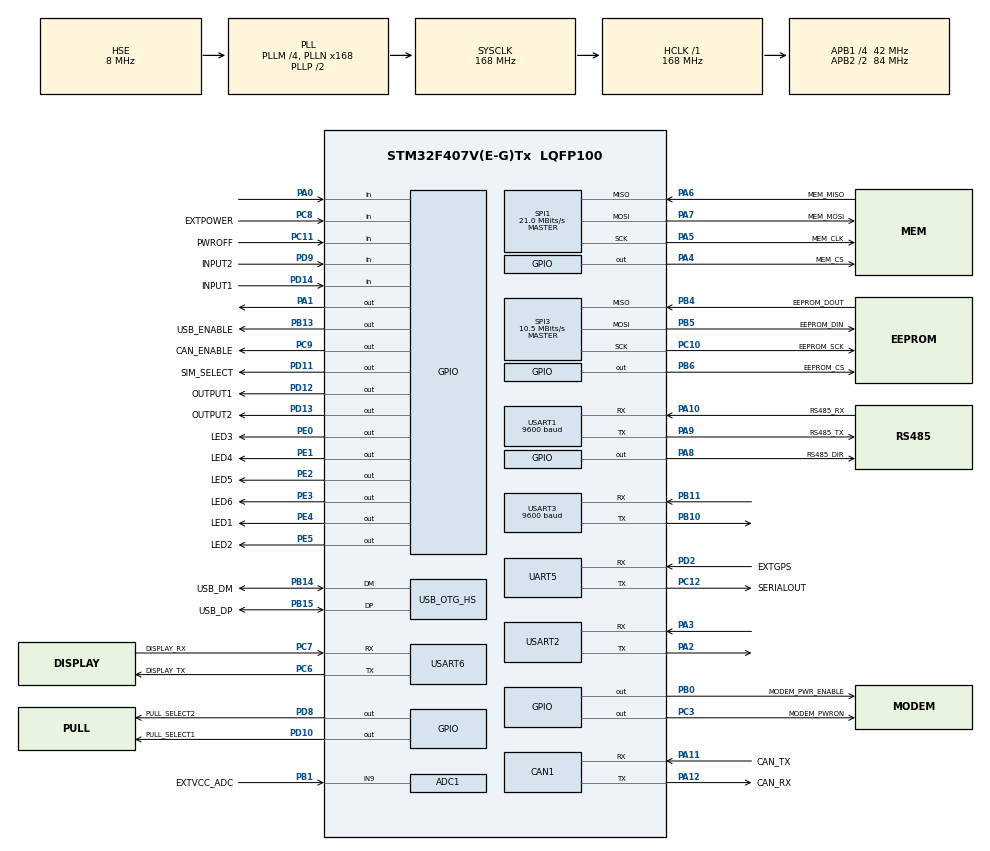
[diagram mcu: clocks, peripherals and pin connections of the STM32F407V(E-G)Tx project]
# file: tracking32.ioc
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Dma.USART1_TX.7.MemInc=DMA_MINC_ENABLE
USB_OTG_HS.VirtualMode-Host_FS=Host_FS
PD12.GPIO_Label=OUTPUT1
PH0-OSC_IN.Signal=RCC_OSC_IN
Dma.USART1_TX.7.Instance=DMA2_Stream7
Dma.SPI1_TX.0.PeriphInc=DMA_PINC_DISABLE
SPI3.Direction=SPI_DIRECTION_2LINES
SPI3.VirtualType=VM_MASTER
FATFS._USE_LFN=1
Dma.SPI1_RX.1.FIFOMode=DMA_FIFOMODE_DISABLE
Dma.UART5_TX.4.Direction=DMA_MEMORY_TO_PERIPH
SPI1.VirtualType=VM_MASTER
PB10.GPIO_PuPd=GPIO_PULLUP
PB10.Mode=Asynchronous
USB_OTG_HS.dma_enable-Host_FS=DISABLE
Dma.USART3_TX.6.Direction=DMA_MEMORY_TO_PERIPH
PC12.Signal=UART5_TX
PB14.GPIO_Label=USB_DM
PA3.GPIO_PuPd=GPIO_PULLUP
Dma.UART5_TX.4.Mode=DMA_NORMAL
Dma.USART2_TX.5.MemDataAlignment=DMA_MDATAALIGN_BYTE
PC6.GPIO_Label=DISPLAY_TX
Dma.SPI3_RX.2.Direction=DMA_PERIPH_TO_MEMORY
PA6.GPIO_Label=MEM_MISO
PB6.GPIO_Label=EEPROM_CS
PA3.GPIO_Speed=GPIO_SPEED_FREQ_VERY_HIGH
PB13.Signal=GPIO_Output
Dma.USART3_TX.6.Instance=DMA1_Stream3
Dma.USART3_TX.6.Mode=DMA_NORMAL
PC3.GPIO_Speed=GPIO_SPEED_FREQ_MEDIUM
RCC.SYSCLKSource=RCC_SYSCLKSOURCE_PLLCLK
PB11.GPIO_Speed=GPIO_SPEED_FREQ_VERY_HIGH
USART3.BaudRate=9600
Dma.USART1_TX.7.MemDataAlignment=DMA_MDATAALIGN_BYTE
SPI1.Direction=SPI_DIRECTION_2LINES
RCC.APB2TimFreq_Value=168000000
PB6.Signal=GPIO_Output
PC7.Signal=USART6_RX
SPI1.CalculateBaudRate=21.0 MBits/s
PC3.Signal=GPIO_Output
PD8.Signal=GPIO_Output
PE5.Signal=GPIO_Output
Dma.USART1_TX.7.Priority=DMA_PRIORITY_LOW
PE1.Signal=GPIO_Output
Dma.SPI1_RX.1.Priority=DMA_PRIORITY_LOW
PB14.Mode=Host_FS
PB1.GPIO_Label=EXTVCC_ADC
PE4.GPIO_Label=LED1
FATFS._NORTC_MON=7
PE2.Signal=GPIO_Output
PD14.GPIO_PuPd=GPIO_PULLUP
PA8.Signal=GPIO_Output
ADC1.SamplingTime-0\#ChannelRegularConversion=ADC_SAMPLETIME_3CYCLES
Dma.USART2_TX.5.Mode=DMA_NORMAL
Dma.SPI1_TX.0.Mode=DMA_NORMAL
Mcu.Package=LQFP100
PB1.Signal=ADCx_IN9
SPI3.Mode=SPI_MODE_MASTER
PD12.Signal=GPIO_Output
PA10.Signal=USART1_RX
Dma.USART3_TX.6.PeriphInc=DMA_PINC_DISABLE
PA1.PinState=GPIO_PIN_SET
SH.ADCx_IN9.0=ADC1_IN9,IN9
Dma.SPI3_RX.2.PeriphInc=DMA_PINC_DISABLE
Dma.USART3_TX.6.MemDataAlignment=DMA_MDATAALIGN_BYTE
RCC.APB2CLKDivider=RCC_HCLK_DIV2
RCC.APB1TimFreq_Value=84000000
PB11.GPIO_Mode=GPIO_MODE_AF_PP
NVIC.USART1_IRQn=true\:1\:0\:true\:false\:true\:true\:true
NVIC.DMA1_Stream6_IRQn=true\:1\:0\:true\:false\:true\:false\:true
PD9.GPIO_PuPd=GPIO_PULLUP
Dma.SPI1_RX.1.MemInc=DMA_MINC_ENABLE
PA4.GPIO_Label=MEM_CS
PA8.GPIO_Speed=GPIO_SPEED_FREQ_MEDIUM
CAN1.CalculateTimeQuantum=380.95238095238096
PA5.Mode=Full_Duplex_Master
PA2.GPIO_Mode=GPIO_MODE_AF_PP
Dma.SPI1_RX.1.Instance=DMA2_Stream0
Dma.USART1_TX.7.FIFOMode=DMA_FIFOMODE_DISABLE
Dma.SPI3_TX.3.Mode=DMA_NORMAL
Dma.USART3_TX.6.MemInc=DMA_MINC_ENABLE
ADC1.Rank-0\#ChannelRegularConversion=1
PD9.GPIO_Label=INPUT2
Dma.SPI1_RX.1.MemDataAlignment=DMA_MDATAALIGN_BYTE
PA9.GPIO_Label=RS485_TX
PC6.Signal=USART6_TX
PC9.PinState=GPIO_PIN_SET
PA11.GPIO_Label=CAN_TX
SPI1.CLKPhase=SPI_PHASE_2EDGE
UART5.VirtualMode=Asynchronous
RCC.APB1CLKDivider=RCC_HCLK_DIV4
PA0-WKUP.Signal=GPIO_Input
USB_HOST0.BSP.STBoard=false
PD10.Signal=GPIO_Output
PA3.Mode=Asynchronous
Dma.SPI1_TX.0.FIFOMode=DMA_FIFOMODE_DISABLE
PB10.GPIO_Mode=GPIO_MODE_AF_PP
PA8.GPIO_Label=RS485_DIR
PB11.Mode=Asynchronous
PD11.GPIO_Speed=GPIO_SPEED_FREQ_MEDIUM
PC6.Mode=Asynchronous
USB_HOST.VirtualModeHS=Msc
PA9.Signal=USART1_TX
PB4.GPIO_PuPd=GPIO_PULLUP
PB10.Signal=USART3_TX
PB14.Signal=USB_OTG_HS_DM
PA5.Signal=SPI1_SCK
PC12.Mode=Asynchronous
Dma.SPI3_TX.3.FIFOMode=DMA_FIFOMODE_DISABLE
PE1.GPIO_Label=LED4
NVIC.SPI1_IRQn=true\:1\:0\:true\:false\:true\:true\:true
Dma.SPI3_TX.3.Direction=DMA_MEMORY_TO_PERIPH
SPI1.CRCCalculation=SPI_CRCCALCULATION_DISABLE
PB13.PinState=GPIO_PIN_RESET
PB4.GPIO_Label=EEPROM_DOUT
PB15.GPIO_Label=USB_DP
SPI1.Mode=SPI_MODE_MASTER
Dma.USART2_TX.5.PeriphInc=DMA_PINC_DISABLE
Dma.UART5_TX.4.MemDataAlignment=DMA_MDATAALIGN_BYTE
Dma.SPI1_TX.0.Instance=DMA2_Stream3
Dma.USART2_TX.5.FIFOMode=DMA_FIFOMODE_DISABLE
FATFS._USE_FIND=1
PA13.Mode=Serial_Wire
PC7.GPIO_Label=DISPLAY_RX
Dma.UART5_TX.4.Instance=DMA1_Stream7
PC8.GPIO_PuPd=GPIO_NOPULL
PA4.Signal=GPIO_Output
Dma.USART3_TX.6.Priority=DMA_PRIORITY_LOW
PB5.Signal=SPI3_MOSI
ADC1.master=1
PA5.GPIO_Label=MEM_CLK
PD11.Signal=GPIO_Output
Dma.USART2_TX.5.Instance=DMA1_Stream6
PE5.GPIO_Label=LED2
PC12.GPIO_Label=SERIALOUT
Dma.UART5_TX.4.FIFOMode=DMA_FIFOMODE_DISABLE
USART1.VirtualMode=VM_ASYNC
PB6.PinState=GPIO_PIN_SET
PA11.Signal=CAN1_RX
ProjectManager.HeapSize=0x200
NVIC.PriorityGroup=NVIC_PRIORITYGROUP_4
Dma.SPI3_TX.3.Instance=DMA1_Stream5
PE3.Signal=GPIO_Output
PC3.GPIO_Label=MODEM_PWRON
PD2.Signal=UART5_RX
PB6.GPIO_Speed=GPIO_SPEED_FREQ_HIGH
VP_USB_HOST_VS_USB_HOST_MSC_HS.Mode=MSC_HS
Dma.UART5_TX.4.MemInc=DMA_MINC_ENABLE
PB0.Signal=GPIO_Output
USB_HOST0.BSP.mode=Output
PD2.GPIO_Label=EXTGPS
USB_HOST.USBH_HandleTypeDef-MSC_HS=hUsbHostHS
Mcu.Family=STM32F4
NVIC.USART3_IRQn=true\:1\:0\:true\:false\:true\:true\:true
Dma.UART5_TX.4.PeriphDataAlignment=DMA_PDATAALIGN_BYTE
NVIC.OTG_HS_IRQn=true\:1\:0\:true\:false\:true\:false\:true
PA2.GPIO_PuPd=GPIO_PULLUP
FATFS._NORTC_MDAY=3
PA6.Mode=Full_Duplex_Master
Dma.SPI1_TX.0.MemInc=DMA_MINC_ENABLE
Dma.USART1_TX.7.PeriphInc=DMA_PINC_DISABLE
RCC.CortexFreq_Value=168000000
Dma.SPI1_RX.1.Mode=DMA_NORMAL
PB10.GPIO_Speed=GPIO_SPEED_FREQ_VERY_HIGH
Dma.SPI3_TX.3.MemDataAlignment=DMA_MDATAALIGN_BYTE
ADC1.ContinuousConvMode=DISABLE
USART1.BaudRate=9600
Dma.USART2_TX.5.MemInc=DMA_MINC_ENABLE
Dma.SPI3_RX.2.Instance=DMA1_Stream0
PC10.Signal=SPI3_SCK
PA2.GPIO_Speed=GPIO_SPEED_FREQ_VERY_HIGH
PA11.Mode=Master
PB0.GPIO_Label=MODEM_PWR_ENABLE
PB11.GPIO_PuPd=GPIO_PULLUP
PB13.GPIO_Label=USB_ENABLE
PB11.Signal=USART3_RX
PB15.Signal=USB_OTG_HS_DP
PD11.PinState=GPIO_PIN_RESET
FATFS._NORTC_YEAR=2019
Dma.SPI3_RX.2.PeriphDataAlignment=DMA_PDATAALIGN_BYTE
ProjectManager.StackSize=0x400
PC3.PinState=GPIO_PIN_SET
NVIC.UART5_IRQn=true\:1\:0\:true\:false\:true\:true\:true
PD13.Signal=GPIO_Output
PA12.Signal=CAN1_TX
SPI1.CLKPolarity=SPI_POLARITY_HIGH
SPI3.CLKPolarity=SPI_POLARITY_HIGH
PB0.PinState=GPIO_PIN_RESET
Dma.SPI1_RX.1.PeriphInc=DMA_PINC_DISABLE
PD11.GPIO_Label=SIM_SELECT
RCC.HCLKFreq_Value=168000000
ADC1.Resolution=ADC_RESOLUTION_8B
NVIC.DMA2_Stream0_IRQn=true\:0\:0\:true\:false\:true\:false\:true
USB_HOST0.BSP.ip=GPIO
RCC.AHBFreq_Value=168000000
PH0-OSC_IN.Mode=HSE-External-Oscillator
ADC1.Channel-0\#ChannelRegularConversion=ADC_CHANNEL_9
RCC.HSE_VALUE=8000000
Dma.SPI3_TX.3.PeriphInc=DMA_PINC_DISABLE
PA4.GPIO_Speed=GPIO_SPEED_FREQ_HIGH
PA6.GPIO_PuPd=GPIO_PULLUP
Dma.SPI3_TX.3.Priority=DMA_PRIORITY_LOW
PB4.Mode=Full_Duplex_Master
PA14.Mode=Serial_Wire
PC11.GPIO_Label=PWROFF
PB5.Mode=Full_Duplex_Master
Dma.USART2_TX.5.PeriphDataAlignment=DMA_PDATAALIGN_BYTE
PA10.GPIO_Label=RS485_RX
Dma.USART2_TX.5.Priority=DMA_PRIORITY_LOW
PE4.Signal=GPIO_Output
Dma.SPI1_RX.1.Direction=DMA_PERIPH_TO_MEMORY
Dma.SPI3_RX.2.FIFOMode=DMA_FIFOMODE_DISABLE
NVIC.DMA1_Stream7_IRQn=true\:1\:0\:true\:false\:true\:false\:true
PH1-OSC_OUT.Mode=HSE-External-Oscillator
USB_HOST0.BSP.i2caddr=0
PD13.GPIO_Label=OUTPUT2
PA6.Signal=SPI1_MISO
NVIC.DMA2_Stream7_IRQn=true\:1\:0\:true\:false\:true\:false\:true
USART2.VirtualMode=VM_ASYNC
USART6.VirtualMode=VM_ASYNC
PE0.GPIO_Label=LED3
USB_HOST0.BSP.name=Drive_VBUS_HS
Dma.USART1_TX.7.Direction=DMA_MEMORY_TO_PERIPH
PB5.GPIO_Label=EEPROM_DIN
Dma.SPI3_RX.2.Priority=DMA_PRIORITY_LOW
Dma.Request2=SPI3_RX
Dma.Request1=SPI1_RX
Dma.Request4=UART5_TX
Dma.Request3=SPI3_TX
Dma.Request6=USART3_TX
Dma.Request5=USART2_TX
NVIC.DMA1_Stream0_IRQn=true\:0\:0\:true\:false\:true\:false\:true
Dma.Request7=USART1_TX
Dma.USART2_TX.5.Direction=DMA_MEMORY_TO_PERIPH
PD10.GPIO_ModeDefaultOutputPP=GPIO_MODE_OUTPUT_OD
Dma.Request0=SPI1_TX
SPI1.BaudRatePrescaler=SPI_BAUDRATEPRESCALER_4
PE2.GPIO_Label=LED5
PA8.PinState=GPIO_PIN_SET
PB4.Signal=SPI3_MISO
PA3.Signal=USART2_RX
PD8.GPIO_ModeDefaultOutputPP=GPIO_MODE_OUTPUT_OD
Dma.SPI3_TX.3.MemInc=DMA_MINC_ENABLE
Dma.USART1_TX.7.PeriphDataAlignment=DMA_PDATAALIGN_BYTE
PA7.Mode=Full_Duplex_Master
PC10.GPIO_Label=EEPROM_SCK
PA10.Mode=Asynchronous
PC9.GPIO_Label=CAN_ENABLE
PC11.Signal=GPIO_Input
PC8.Signal=GPIO_Input
USB_HOST0.BSP.solution=PB13
PC10.Mode=Full_Duplex_Master
USB_HOST.BSP.number=1
PD9.Signal=GPIO_Input
NVIC.USART2_IRQn=true\:1\:0\:true\:false\:true\:true\:true
PA12.GPIO_Label=CAN_RX
Dma.UART5_TX.4.Priority=DMA_PRIORITY_LOW
PD8.GPIO_Label=PULL_SELECT2
PB0.GPIO_Speed=GPIO_SPEED_FREQ_MEDIUM
PC8.GPIO_Label=EXTPOWER
PA13.Signal=SYS_JTMS-SWDIO
PA9.Mode=Asynchronous
PE0.PinState=GPIO_PIN_RESET
PA4.PinState=GPIO_PIN_SET
ProjectManager.TargetToolchain=SW4STM32
NVIC.DMA1_Stream5_IRQn=true\:0\:0\:true\:false\:true\:false\:true
PA3.GPIO_Mode=GPIO_MODE_AF_PP
Dma.SPI1_TX.0.PeriphDataAlignment=DMA_PDATAALIGN_BYTE
Dma.SPI1_TX.0.Direction=DMA_MEMORY_TO_PERIPH
Dma.UART5_TX.4.PeriphInc=DMA_PINC_DISABLE
PD10.GPIO_Label=PULL_SELECT1
NVIC.DMA2_Stream3_IRQn=true\:0\:0\:true\:false\:true\:false\:true
RCC.LSE_VALUE=32768
PA1.Signal=GPIO_Output
PD2.Mode=Asynchronous
board=custom
SPI3.CLKPhase=SPI_PHASE_2EDGE
RCC.VCOOutputFreq_Value=336000000
PB15.Mode=Host_FS
FATFS._FS_NORTC=0
RCC.APB2Freq_Value=84000000
USB_HOST0.BSP.api=Unknown
SPI3.CalculateBaudRate=10.5 MBits/s
PA1.GPIO_Speed=GPIO_SPEED_FREQ_MEDIUM
SPI3.BaudRatePrescaler=SPI_BAUDRATEPRESCALER_4
Dma.SPI3_TX.3.PeriphDataAlignment=DMA_PDATAALIGN_BYTE
PH1-OSC_OUT.Signal=RCC_OSC_OUT
PD14.GPIO_Label=INPUT1
Dma.USART3_TX.6.PeriphDataAlignment=DMA_PDATAALIGN_BYTE
Dma.SPI3_RX.2.Mode=DMA_NORMAL
Mcu.Name=STM32F407V(E-G)Tx
PE0.Signal=GPIO_Output
Dma.USART3_TX.6.FIFOMode=DMA_FIFOMODE_DISABLE
PA2.Signal=USART2_TX
PD14.Signal=GPIO_Input
Dma.SPI1_RX.1.PeriphDataAlignment=DMA_PDATAALIGN_BYTE
RCC.48MHZClocksFreq_Value=48000000
PB3.Signal=SYS_JTDO-SWO
RCC.SYSCLKFreq_VALUE=168000000
PA7.GPIO_Label=MEM_MOSI
PA12.Mode=Master
Dma.USART1_TX.7.Mode=DMA_NORMAL
USART3.VirtualMode=VM_ASYNC
Dma.SPI3_RX.2.MemInc=DMA_MINC_ENABLE
PA14.Signal=SYS_JTCK-SWCLK
Dma.SPI1_TX.0.MemDataAlignment=DMA_MDATAALIGN_BYTE
Dma.SPI1_TX.0.Priority=DMA_PRIORITY_LOW
VP_FATFS_VS_USB.Mode=USB
PD10.PinState=GPIO_PIN_SET
RCC.HSI_VALUE=16000000
USB_OTG_HS.Sof_enable-Host_FS=DISABLE
RCC.PLLQ=7
ADC1.NbrOfConversionFlag=1
RCC.PLLM=4
RCC.PLLN=168
PA2.Mode=Asynchronous
PE3.GPIO_Label=LED6
NVIC.DMA1_Stream3_IRQn=true\:1\:0\:true\:false\:true\:false\:true
PC9.Signal=GPIO_Output
PC7.Mode=Asynchronous
Dma.SPI3_RX.2.MemDataAlignment=DMA_MDATAALIGN_BYTE
RCC.APB1Freq_Value=42000000
PD8.PinState=GPIO_PIN_SET
VP_CRC_VS_CRC.Mode=CRC_Activate
PA7.Signal=SPI1_MOSI
USB_HOST0.BSP.instance=PB13

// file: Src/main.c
/* USER CODE BEGIN Header */
/**
  ******************************************************************************
  * @file           : main.c
  * @brief          : Main program body
  ******************************************************************************
  ** This notice applies to any and all portions of this file
  * that are not between comment pairs USER CODE BEGIN and
  * USER CODE END. Other portions of this file, whether
  * inserted by the user or by software development tools
  * are owned by their respective copyright owners.
  *
  * COPYRIGHT(c) 2019 STMicroelectronics
  *
  * Redistribution and use in source and binary forms, with or without modification,
  * are permitted provided that the following conditions are met:
  *   1. Redistributions of source code must retain the above copyright notice,
  *      this list of conditions and the following disclaimer.
  *   2. Redistributions in binary form must reproduce the above copyright notice,
  *      this list of conditions and the following disclaimer in the documentation
  *      and/or other materials provided with the distribution.
  *   3. Neither the name of STMicroelectronics nor the names of its contributors
  *      may be used to endorse or promote products derived from this software
  *      without specific prior written permission.
  *
  * THIS SOFTWARE IS PROVIDED BY THE COPYRIGHT HOLDERS AND CONTRIBUTORS "AS IS"
  * AND ANY EXPRESS OR IMPLIED WARRANTIES, INCLUDING, BUT NOT LIMITED TO, THE
  * IMPLIED WARRANTIES OF MERCHANTABILITY AND FITNESS FOR A PARTICULAR PURPOSE ARE
  * DISCLAIMED. IN NO EVENT SHALL THE COPYRIGHT HOLDER OR CONTRIBUTORS BE LIABLE
  * FOR ANY DIRECT, INDIRECT, INCIDENTAL, SPECIAL, EXEMPLARY, OR CONSEQUENTIAL
  * DAMAGES (INCLUDING, BUT NOT LIMITED TO, PROCUREMENT OF SUBSTITUTE GOODS OR
  * SERVICES; LOSS OF USE, DATA, OR PROFITS; OR BUSINESS INTERRUPTION) HOWEVER
  * CAUSED AND ON ANY THEORY OF LIABILITY, WHETHER IN CONTRACT, STRICT LIABILITY,
  * OR TORT (INCLUDING NEGLIGENCE OR OTHERWISE) ARISING IN ANY WAY OUT OF THE USE
  * OF THIS SOFTWARE, EVEN IF ADVISED OF THE POSSIBILITY OF SUCH DAMAGE.
  *
  ******************************************************************************
  */
/* USER CODE END Header */

#include "main.h"
#include "adc.h"
#include "can.h"
#include "crc.h"
#include "dma.h"
#include "fatfs.h"
#include "spi.h"
#include "usart.h"
#include "usb_host.h"
#include "gpio.h"

void SystemClock_Config(void);
void MX_USB_HOST_Process(void);

/* USER CODE BEGIN 0 */
#define BSP_LED_On(LED4)	HAL_GPIO_WritePin(LED4_GPIO_Port, LED4_Pin, 1)
#define BSP_MARK_START()	HAL_GPIO_WritePin(EEPROM_CS_GPIO_Port, EEPROM_CS_Pin, 1)
#define BSP_MARK_STOP()		HAL_GPIO_WritePin(EEPROM_CS_GPIO_Port, EEPROM_CS_Pin, 0)

#define BSP_PROC_START()	HAL_GPIO_WritePin(MEM_CS_GPIO_Port, MEM_CS_Pin, 1)
#define BSP_PROC_STOP()		HAL_GPIO_WritePin(MEM_CS_GPIO_Port, MEM_CS_Pin, 0)

FATFS USBDISKFatFs;           /* File system object for USB disk logical drive */
FIL MyFile;                   /* File object */
char USBDISKPath[4];          /* USB Host logical drive path */

/**
  * @brief  Main routine for Mass Storage Class
  * @param  None
  * @retval None
  */
static void MSC_Application(void)
{
  FRESULT res;                                          /* FatFs function common result code */
  uint32_t byteswritten, bytesread;                     /* File write/read counts */
  uint8_t wtext[] = "This is STM32 working with FatFs"; /* File write buffer */
  uint8_t rtext[100];                                   /* File read buffer */

  /* Register the file system object to the FatFs module */
  BSP_MARK_START();
  if(f_mount(&USBDISKFatFs, (TCHAR const*)USBDISKPath, 0) != FR_OK)
  {
    /* FatFs Initialization Error */
    Error_Handler();
  }
  else
  {
	  BSP_MARK_STOP();
	  BSP_MARK_START();
      /* Create and Open a new text file object with write access */
      if(f_open(&MyFile, "STM32.TXT", FA_CREATE_ALWAYS | FA_WRITE) != FR_OK)
      {

        /* 'STM32.TXT' file Open for write Error */
        Error_Handler();
      }
      else
      {
    	BSP_MARK_STOP();
    	BSP_MARK_START();
        /* Write data to the text file */
        res = f_write(&MyFile, wtext, sizeof(wtext), (void *)&byteswritten);

        if((byteswritten == 0) || (res != FR_OK))
        {
          /* 'STM32.TXT' file Write or EOF Error */
          Error_Handler();
        }
        else
        {
          BSP_MARK_STOP();
          BSP_MARK_START();
          /* Close the open text file */
          f_close(&MyFile);
          BSP_MARK_STOP();
        /* Open the text file object with read access */
        BSP_MARK_START();
        if(f_open(&MyFile, "STM32.TXT", FA_READ) != FR_OK)
        {
          /* 'STM32.TXT' file Open for read Error */
          Error_Handler();
        }
        else
        {
          BSP_MARK_STOP();
          BSP_MARK_START();
          /* Read data from the text file */
          res = f_read(&MyFile, rtext, sizeof(rtext), (void *)&bytesread);

          if((bytesread == 0) || (res != FR_OK))
          {
            /* 'STM32.TXT' file Read or EOF Error */
            Error_Handler();
          }
          else
          {
            BSP_MARK_STOP();
            BSP_MARK_START();
            /* Close the open text file */
            f_close(&MyFile);
            BSP_MARK_STOP();
            /* Compare read data with the expected data */
            if((bytesread != byteswritten))
            {
              /* Read data is different from the expected data */
              Error_Handler();
            }
            else
            {
          /* Success of the demo: no error occurrence */
              BSP_LED_On(LED4);
            }
          }
        }
      }
    }
  }
  BSP_MARK_START();
  /* Unlink the USB disk I/O driver */
  FATFS_UnLinkDriver(USBDISKPath);
  BSP_MARK_STOP();
}

/* ---------------------------- Global functions --------------------------- */
extern ApplicationTypeDef Appli_state;
__weak
/* USER CODE END 0 */

int main(void)
{

  /* MCU Configuration--------------------------------------------------------*/

  /* Reset of all peripherals, Initializes the Flash interface and the Systick. */
  HAL_Init();

  /* Configure the system clock */
  SystemClock_Config();

  /* Initialize all configured peripherals */
  MX_GPIO_Init();
  MX_DMA_Init();
  MX_USART3_UART_Init();
  MX_UART5_Init();
  MX_USART6_UART_Init();
  MX_USART1_UART_Init();
  MX_SPI1_Init();
  MX_CAN1_Init();
  MX_ADC1_Init();
  MX_SPI3_Init();
  MX_USART2_UART_Init();
  MX_FATFS_Init();
  MX_USB_HOST_Init();
  MX_CRC_Init();
  /* USER CODE BEGIN 2 */
  BSP_PROC_STOP();
  BSP_MARK_STOP();
  /* USER CODE END 2 */

  /* Infinite loop */
  while (1)
  {
    MX_USB_HOST_Process();

    /* USER CODE BEGIN 3 */
    /* Mass Storage Application State Machine */
    switch(Appli_state)
    {
    case APPLICATION_READY:
      MSC_Application();
      Appli_state = APPLICATION_IDLE;
      break;

    case APPLICATION_IDLE:
    default:
      break;
    }

  }
  /* USER CODE END 3 */
}

void SystemClock_Config(void)
{
  RCC_OscInitTypeDef RCC_OscInitStruct = {0};
  RCC_ClkInitTypeDef RCC_ClkInitStruct = {0};

  /** Configure the main internal regulator output voltage
  */
  __HAL_RCC_PWR_CLK_ENABLE();
  __HAL_PWR_VOLTAGESCALING_CONFIG(PWR_REGULATOR_VOLTAGE_SCALE1);
  /** Initializes the CPU, AHB and APB busses clocks
  */
  RCC_OscInitStruct.OscillatorType = RCC_OSCILLATORTYPE_HSE;
  RCC_OscInitStruct.HSEState = RCC_HSE_ON;
  RCC_OscInitStruct.PLL.PLLState = RCC_PLL_ON;
  RCC_OscInitStruct.PLL.PLLSource = RCC_PLLSOURCE_HSE;
  RCC_OscInitStruct.PLL.PLLM = 4;
  RCC_OscInitStruct.PLL.PLLN = 168;
  RCC_OscInitStruct.PLL.PLLP = RCC_PLLP_DIV2;
  RCC_OscInitStruct.PLL.PLLQ = 7;
  if (HAL_RCC_OscConfig(&RCC_OscInitStruct) != HAL_OK)
  {
    Error_Handler();
  }
  /** Initializes the CPU, AHB and APB busses clocks
  */
  RCC_ClkInitStruct.ClockType = RCC_CLOCKTYPE_HCLK|RCC_CLOCKTYPE_SYSCLK
                              |RCC_CLOCKTYPE_PCLK1|RCC_CLOCKTYPE_PCLK2;
  RCC_ClkInitStruct.SYSCLKSource = RCC_SYSCLKSOURCE_PLLCLK;
  RCC_ClkInitStruct.AHBCLKDivider = RCC_SYSCLK_DIV1;
  RCC_ClkInitStruct.APB1CLKDivider = RCC_HCLK_DIV4;
  RCC_ClkInitStruct.APB2CLKDivider = RCC_HCLK_DIV2;

  if (HAL_RCC_ClockConfig(&RCC_ClkInitStruct, FLASH_LATENCY_5) != HAL_OK)
  {
    Error_Handler();
  }
}

void Error_Handler(void)
{
  /* USER CODE BEGIN Error_Handler_Debug */
  /* User can add his own implementation to report the HAL error return state */
	BSP_MARK_STOP();
  /* USER CODE END Error_Handler_Debug */
}

/************************ (C) COPYRIGHT STMicroelectronics *****END OF FILE****/
